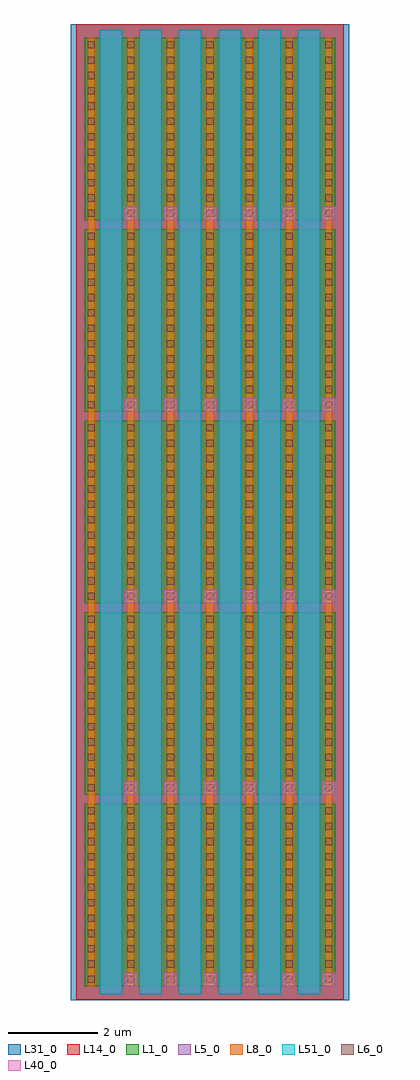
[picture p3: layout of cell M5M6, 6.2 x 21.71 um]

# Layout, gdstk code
import gdstk
lib = gdstk.Library(unit=1e-6, precision=1e-09)
def R(c, l, rs):  # rectangles x0, y0, x1, y1
    for r in rs: c.add(gdstk.rectangle(r[:2], r[2:], *l))
def A(c, l, x, y, w, h, nx, ny, dx, dy):  # array of equal rectangles
    R(c, l, [(x+i*dx, y+j*dy, x+i*dx+w, y+j*dy+h) for i in range(nx) for j in range(ny)])
L1_0 = (1, 0)
L5_0 = (5, 0)
L6_0 = (6, 0)
L8_0 = (8, 0)
L14_0 = (14, 0)
L31_0 = (31, 0)
L40_0 = (40, 0)
L51_0 = (51, 0)

pmos_2 = lib.new_cell('pmos$2')
R(pmos_2, L1_0, [(0,0,0.3,0.3), (0,0,1.18,4.05), (0.88,0,1.18,0.3)])
R(pmos_2, L5_0, [(0.34,-0.18,0.84,4.23), (0.34,-0.18,0.84,4.23)])
A(pmos_2, L6_0, 0.07, 0.07, 0.16, 0.16, 1, 6, 0, 0.34)
A(pmos_2, L6_0, 0.95, 0.07, 0.16, 0.16, 1, 6, 0, 0.34)
A(pmos_2, L6_0, 0.07, 2.115, 0.16, 0.16, 1, 5, 0, 0.34)
A(pmos_2, L6_0, 0.95, 2.115, 0.16, 0.16, 1, 5, 0, 0.34)
R(pmos_2, L6_0, [(0.07,3.82,0.23,3.98), (0.95,3.82,1.11,3.98)])
R(pmos_2, L8_0, [(0.07,0,0.23,4.05), (0.07,0,0.23,4.05), (0.95,0,1.11,4.05), (0.95,0,1.11,4.05)])
R(pmos_2, L14_0, [(-0.18,-0.3,1.36,4.35)])
R(pmos_2, L31_0, [(-0.31,-0.31,1.49,4.36)])
R(pmos_2, L40_0, [(0.88,0,1.18,0.3)])
R(pmos_2, L51_0, [(0.34,-0.18,0.84,4.23)])
pmos_2.add(gdstk.Label('pmos', (0.59,2.025), layer=63, texttype=0))
pmos_2.add(gdstk.Label('pmos', (0.59,2.025), layer=51, texttype=0))

m1_conm5m6 = lib.new_cell('M1_conM5M6')
R(m1_conm5m6, L8_0, [(0,0,0.16,0.21)])

m5m6 = lib.new_cell('M5M6')
r = gdstk.Reference(pmos_2, (-0.455,-0.12)); r.repetition = gdstk.Repetition(6, 5, v1=(0.88,0), v2=(0,4.26)); m5m6.add(r)
r = gdstk.Reference(m1_conm5m6, (-0.385,3.93)); r.repetition = gdstk.Repetition(7, 4, v1=(0.88,0), v2=(0,4.26)); m5m6.add(r)

lib.write_gds('M5M6.gds')
